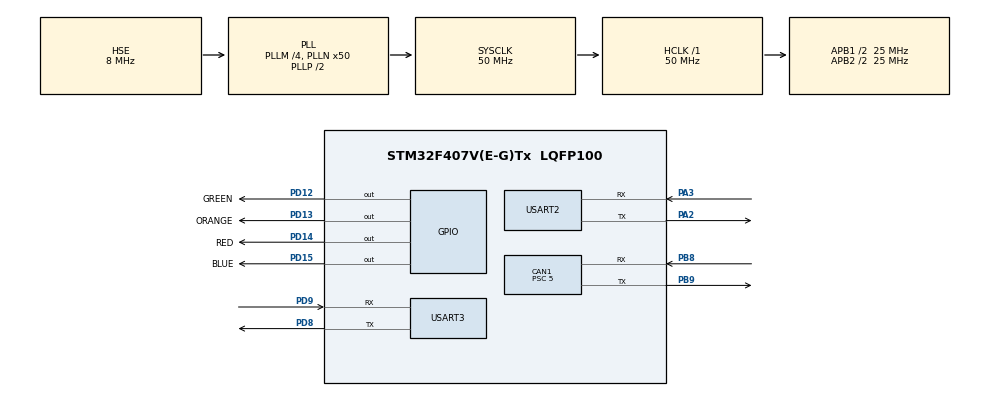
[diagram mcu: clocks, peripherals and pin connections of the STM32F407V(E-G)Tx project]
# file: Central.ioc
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CAN1.BS1=CAN_BS1_8TQ
CAN1.CalculateBaudRate=500000
CAN1.CalculateTimeBit=2000
CAN1.CalculateTimeQuantum=200.0
CAN1.Prescaler=5
Mcu.Family=STM32F4
Mcu.Name=STM32F407V(E-G)Tx
Mcu.Package=LQFP100
NVIC.CAN1_RX0_IRQn=true\:0\:0\:false\:false\:true\:true\:true\:true
NVIC.CAN1_SCE_IRQn=true\:0\:0\:false\:false\:true\:true\:true\:true
NVIC.CAN1_TX_IRQn=true\:0\:0\:false\:false\:true\:true\:true\:true
NVIC.PriorityGroup=NVIC_PRIORITYGROUP_0
NVIC.USART2_IRQn=true\:0\:0\:false\:false\:true\:true\:true\:true
NVIC.USART3_IRQn=true\:0\:0\:false\:false\:true\:true\:true\:true
PA2.GPIO_PuPd=GPIO_PULLUP
PA2.Mode=Asynchronous
PA2.Signal=USART2_TX
PA3.GPIO_PuPd=GPIO_PULLUP
PA3.Mode=Asynchronous
PA3.Signal=USART2_RX
PB8.GPIO_PuPd=GPIO_PULLUP
PB8.Mode=CAN_Activate
PB8.Signal=CAN1_RX
PB9.GPIO_PuPd=GPIO_PULLUP
PB9.Mode=CAN_Activate
PB9.Signal=CAN1_TX
PD12.GPIO_Label=GREEN
PD12.Signal=GPIO_Output
PD13.GPIO_Label=ORANGE
PD13.Signal=GPIO_Output
PD14.GPIO_Label=RED
PD14.Signal=GPIO_Output
PD15.GPIO_Label=BLUE
PD15.Signal=GPIO_Output
PD8.GPIO_PuPd=GPIO_PULLUP
PD8.Mode=Asynchronous
PD8.Signal=USART3_TX
PD9.GPIO_PuPd=GPIO_PULLUP
PD9.Mode=Asynchronous
PD9.Signal=USART3_RX
PH0-OSC_IN.Mode=HSE-External-Oscillator
PH0-OSC_IN.Signal=RCC_OSC_IN
PH1-OSC_OUT.Mode=HSE-External-Oscillator
PH1-OSC_OUT.Signal=RCC_OSC_OUT
ProjectManager.HeapSize=0x200
ProjectManager.StackSize=0x400
ProjectManager.TargetToolchain=STM32CubeIDE
RCC.48MHZClocksFreq_Value=14285714.285714285
RCC.AHBFreq_Value=50000000
RCC.APB1CLKDivider=RCC_HCLK_DIV2
RCC.APB1Freq_Value=25000000
RCC.APB1TimFreq_Value=50000000
RCC.APB2CLKDivider=RCC_HCLK_DIV2
RCC.APB2Freq_Value=25000000
RCC.APB2TimFreq_Value=50000000
RCC.CortexFreq_Value=50000000
RCC.HCLKFreq_Value=50000000
RCC.HSE_VALUE=8000000
RCC.HSI_VALUE=16000000
RCC.LSE_VALUE=32768
RCC.PLLM=4
RCC.PLLN=50
RCC.PLLQ=7
RCC.PLLSourceVirtual=RCC_PLLSOURCE_HSE
RCC.SYSCLKFreq_VALUE=50000000
RCC.SYSCLKSource=RCC_SYSCLKSOURCE_PLLCLK
RCC.VCOOutputFreq_Value=100000000
USART2.VirtualMode=VM_ASYNC
USART3.VirtualMode=VM_ASYNC
board=STM32F407G-DISC1

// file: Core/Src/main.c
/* USER CODE BEGIN Header */
/**
  ******************************************************************************
  * @file           : main.c
  * @brief          : Main program body
  ******************************************************************************
  * @attention
  *
  * Copyright (c) 2024 STMicroelectronics.
  * All rights reserved.
  *
  * This software is licensed under terms that can be found in the LICENSE file
  * in the root directory of this software component.
  * If no LICENSE file comes with this software, it is provided AS-IS.
  *
  ******************************************************************************
  */
/* USER CODE END Header */
#include "main.h"

/* USER CODE BEGIN Includes */
#include "stdio.h"
#include "string.h"
#include "ESPDataLogger.h"
/* USER CODE END Includes */

/* USER CODE BEGIN PD */
#define   DOMINANT    0
#define   RECESSIF    1
/* USER CODE END PD */

CAN_HandleTypeDef hcan1;

UART_HandleTypeDef huart2;
UART_HandleTypeDef huart3;

/* USER CODE BEGIN PV */
 uint8_t aRxDataCan[6];
 uint16_t aRxDataCanCloud[5];
 uint8_t aRxDataCanQT[5];
 uint8_t EtatFan = 0 ;
 uint8_t CanFlag = 0 ;
 uint8_t QtRxData[2];
 uint8_t aTxData[2];
 //////////paramétres CAN/////////
 uint32_t TxMailbox;
 CAN_RxHeaderTypeDef RxHeader;

/* USER CODE END PV */

void SystemClock_Config(void);
static void MX_GPIO_Init(void);
static void MX_CAN1_Init(void);
static void MX_USART3_UART_Init(void);
static void MX_USART2_UART_Init(void);
/* USER CODE BEGIN PFP */
static void CAN1_Filter(void);
static void CAN1_Tx(void);
static void Send_Data_Uart(uint8_t *data, uint8_t size);
/* USER CODE END PFP */

int main(void)
{

  /* MCU Configuration--------------------------------------------------------*/

  /* Reset of all peripherals, Initializes the Flash interface and the Systick. */
  HAL_Init();

  /* Configure the system clock */
  SystemClock_Config();

  /* Initialize all configured peripherals */
  MX_GPIO_Init();
  MX_CAN1_Init();
  MX_USART3_UART_Init();
  MX_USART2_UART_Init();
  /* USER CODE BEGIN 2 */
  CAN1_Filter();
 if (HAL_CAN_Start(&hcan1) !=HAL_OK)
  {
	  Error_Handler();
  }
 if (HAL_CAN_ActivateNotification(&hcan1,CAN_IT_RX_FIFO0_MSG_PENDING | CAN_IT_TX_MAILBOX_EMPTY )!= HAL_OK)
  {
    Error_Handler();
  }

  if ( HAL_UART_Receive_IT(&huart2, QtRxData, sizeof(QtRxData)) != HAL_OK )
  {
	 Error_Handler();
  }
 ESP_Init("Redmi","09876543210X");
  /* USER CODE END 2 */

  /* Infinite loop */
  while (1)
  {

    /* USER CODE BEGIN 3 */

	  if ( 1 == CanFlag )
	    {
		      HAL_GPIO_TogglePin(GREEN_GPIO_Port, GREEN_Pin);
		      CanFlag = 0;

         }
	  else if ( 2 == CanFlag )
		  {
			  HAL_GPIO_TogglePin(RED_GPIO_Port, RED_Pin);
			  CanFlag = 0;
		  }
	  else if ( 3 == CanFlag )
		  {
			  HAL_GPIO_TogglePin(BLUE_GPIO_Port, BLUE_Pin);
			  Send_Data_Uart(aRxDataCanQT, sizeof(aRxDataCanQT));
              ESP_Send_Multi("Q2II80D9IDVPRW74",5,aRxDataCanCloud);
		      HAL_Delay(1000);
		      CanFlag = 0;
		  }

  }
  /* USER CODE END 3 */
}

void SystemClock_Config(void)
{
  RCC_OscInitTypeDef RCC_OscInitStruct = {0};
  RCC_ClkInitTypeDef RCC_ClkInitStruct = {0};

  /** Configure the main internal regulator output voltage
  */
  __HAL_RCC_PWR_CLK_ENABLE();
  __HAL_PWR_VOLTAGESCALING_CONFIG(PWR_REGULATOR_VOLTAGE_SCALE1);

  /** Initializes the RCC Oscillators according to the specified parameters
  * in the RCC_OscInitTypeDef structure.
  */
  RCC_OscInitStruct.OscillatorType = RCC_OSCILLATORTYPE_HSE;
  RCC_OscInitStruct.HSEState = RCC_HSE_ON;
  RCC_OscInitStruct.PLL.PLLState = RCC_PLL_ON;
  RCC_OscInitStruct.PLL.PLLSource = RCC_PLLSOURCE_HSE;
  RCC_OscInitStruct.PLL.PLLM = 4;
  RCC_OscInitStruct.PLL.PLLN = 50;
  RCC_OscInitStruct.PLL.PLLP = RCC_PLLP_DIV2;
  RCC_OscInitStruct.PLL.PLLQ = 7;
  if (HAL_RCC_OscConfig(&RCC_OscInitStruct) != HAL_OK)
  {
    Error_Handler();
  }

  /** Initializes the CPU, AHB and APB buses clocks
  */
  RCC_ClkInitStruct.ClockType = RCC_CLOCKTYPE_HCLK|RCC_CLOCKTYPE_SYSCLK
                              |RCC_CLOCKTYPE_PCLK1|RCC_CLOCKTYPE_PCLK2;
  RCC_ClkInitStruct.SYSCLKSource = RCC_SYSCLKSOURCE_PLLCLK;
  RCC_ClkInitStruct.AHBCLKDivider = RCC_SYSCLK_DIV1;
  RCC_ClkInitStruct.APB1CLKDivider = RCC_HCLK_DIV2;
  RCC_ClkInitStruct.APB2CLKDivider = RCC_HCLK_DIV2;

  if (HAL_RCC_ClockConfig(&RCC_ClkInitStruct, FLASH_LATENCY_1) != HAL_OK)
  {
    Error_Handler();
  }
}

static void MX_CAN1_Init(void)
{

  hcan1.Instance = CAN1;
  hcan1.Init.Prescaler = 5;
  hcan1.Init.Mode = CAN_MODE_NORMAL;
  hcan1.Init.SyncJumpWidth = CAN_SJW_1TQ;
  hcan1.Init.TimeSeg1 = CAN_BS1_8TQ;
  hcan1.Init.TimeSeg2 = CAN_BS2_1TQ;
  hcan1.Init.TimeTriggeredMode = DISABLE;
  hcan1.Init.AutoBusOff = DISABLE;
  hcan1.Init.AutoWakeUp = DISABLE;
  hcan1.Init.AutoRetransmission = DISABLE;
  hcan1.Init.ReceiveFifoLocked = DISABLE;
  hcan1.Init.TransmitFifoPriority = DISABLE;
  if (HAL_CAN_Init(&hcan1) != HAL_OK)
  {
    Error_Handler();
  }

}

static void MX_USART2_UART_Init(void)
{

  huart2.Instance = USART2;
  huart2.Init.BaudRate = 115200;
  huart2.Init.WordLength = UART_WORDLENGTH_8B;
  huart2.Init.StopBits = UART_STOPBITS_1;
  huart2.Init.Parity = UART_PARITY_NONE;
  huart2.Init.Mode = UART_MODE_TX_RX;
  huart2.Init.HwFlowCtl = UART_HWCONTROL_NONE;
  huart2.Init.OverSampling = UART_OVERSAMPLING_16;
  if (HAL_UART_Init(&huart2) != HAL_OK)
  {
    Error_Handler();
  }

}

static void MX_USART3_UART_Init(void)
{

  huart3.Instance = USART3;
  huart3.Init.BaudRate = 115200;
  huart3.Init.WordLength = UART_WORDLENGTH_8B;
  huart3.Init.StopBits = UART_STOPBITS_1;
  huart3.Init.Parity = UART_PARITY_NONE;
  huart3.Init.Mode = UART_MODE_TX_RX;
  huart3.Init.HwFlowCtl = UART_HWCONTROL_NONE;
  huart3.Init.OverSampling = UART_OVERSAMPLING_16;
  if (HAL_UART_Init(&huart3) != HAL_OK)
  {
    Error_Handler();
  }

}

static void MX_GPIO_Init(void)
{
  GPIO_InitTypeDef GPIO_InitStruct = {0};

  /* GPIO Ports Clock Enable */
  __HAL_RCC_GPIOH_CLK_ENABLE();
  __HAL_RCC_GPIOA_CLK_ENABLE();
  __HAL_RCC_GPIOD_CLK_ENABLE();
  __HAL_RCC_GPIOB_CLK_ENABLE();

  /*Configure GPIO pin Output Level */
  HAL_GPIO_WritePin(GPIOD, GREEN_Pin|ORANGE_Pin|RED_Pin|BLUE_Pin, GPIO_PIN_RESET);

  /*Configure GPIO pins : GREEN_Pin ORANGE_Pin RED_Pin BLUE_Pin */
  GPIO_InitStruct.Pin = GREEN_Pin|ORANGE_Pin|RED_Pin|BLUE_Pin;
  GPIO_InitStruct.Mode = GPIO_MODE_OUTPUT_PP;
  GPIO_InitStruct.Pull = GPIO_NOPULL;
  GPIO_InitStruct.Speed = GPIO_SPEED_FREQ_LOW;
  HAL_GPIO_Init(GPIOD, &GPIO_InitStruct);

}

/* USER CODE BEGIN 4 */
static void CAN1_Filter(void)
 {
 	CAN_FilterTypeDef can1_filter_init;
 	can1_filter_init.FilterActivation = ENABLE;
 	can1_filter_init.FilterBank = 0;
 	can1_filter_init.FilterFIFOAssignment = CAN_RX_FIFO0;
 	can1_filter_init.FilterIdHigh = 0x4FF<<5;
 	can1_filter_init.FilterIdLow = 0x0000;
 	can1_filter_init.FilterMaskIdHigh = 0x8FF<<5;
 	can1_filter_init.FilterMaskIdLow = 0x0000;
 	can1_filter_init.FilterMode = CAN_FILTERMODE_IDMASK;
 	can1_filter_init.FilterScale = CAN_FILTERSCALE_32BIT;
 	if(HAL_CAN_ConfigFilter(&hcan1, &can1_filter_init) != HAL_OK)
 	{
 		Error_Handler();
 	}
 }
 static void CAN1_Rx(void)
 {

 	if(HAL_CAN_GetRxMessage(&hcan1, CAN_RX_FIFO0, &RxHeader, aRxDataCan) != HAL_OK)
 	{
 		Error_Handler();
 	}
 	if (RxHeader.RTR == DOMINANT  )
 	{

 	/*if( RxHeader.StdId == 0x2FF ||  RxHeader.StdId  == 0x3FF)
 	{
		HAL_GPIO_TogglePin(ORANGE_GPIO_Port,ORANGE_Pin);
		HAL_GPIO_WritePin(BLUE_GPIO_Port,BLUE_Pin,RESET);
		HAL_GPIO_WritePin(RED_GPIO_Port,RED_Pin,RESET);

 	}
 	else if( RxHeader.StdId  == 0x1FF )
 	{
 		 HAL_GPIO_TogglePin(RED_GPIO_Port,RED_Pin);
 		 HAL_GPIO_WritePin(BLUE_GPIO_Port,BLUE_Pin,RESET);
 		 HAL_GPIO_WritePin(ORANGE_GPIO_Port,ORANGE_Pin,RESET);
 	}
 	else if( RxHeader.StdId == 0x0FF )
 	{
 		 HAL_GPIO_TogglePin(BLUE_GPIO_Port,BLUE_Pin);
 		 HAL_GPIO_WritePin(ORANGE_GPIO_Port,ORANGE_Pin,RESET);
 		 HAL_GPIO_WritePin(RED_GPIO_Port,RED_Pin,RESET);
 	}
 	else if( RxHeader.StdId == 0x4FF )
 	{
 		HAL_GPIO_WritePin(RED_GPIO_Port,BLUE_Pin,RESET);
 		HAL_GPIO_WritePin(ORANGE_GPIO_Port,ORANGE_Pin,RESET);
 		HAL_GPIO_WritePin(RED_GPIO_Port,RED_Pin,RESET);

 	}
 	*/
 	if (RxHeader.StdId == 0x0FF || RxHeader.StdId == 0x1FF || RxHeader.StdId == 0x3FF ){
 		for(int i = 0; i < 3; i++) {
 			aRxDataCanQT[i] = aRxDataCan[i];
 			aRxDataCanCloud[i] = aRxDataCan[i];
 		}
 	}
 	else if (RxHeader.StdId == 0x2FF || RxHeader.StdId == 0x4FF ){
 		for(int i = 0; i < 2; i++) {
 			aRxDataCanQT[i+3] = aRxDataCan[i+3];
 			aRxDataCanCloud[i+3] = aRxDataCan[i+3];
 		}
 	}
 }
 }
 void HAL_CAN_TxMailbox0CompleteCallback(CAN_HandleTypeDef *hcan)
  {
 		if (hcan->Instance == CAN1)
 		{
 			CanFlag = 1;
 	    }

  }

  void HAL_CAN_TxMailbox1CompleteCallback(CAN_HandleTypeDef *hcan)
  {
 		if (hcan->Instance== CAN1)
 		{
 			CanFlag = 1;
 	    }

  }

 void HAL_CAN_TxMailbox2CompleteCallback(CAN_HandleTypeDef *hcan)
  {
 		if (hcan->Instance== CAN1)
 		{
 			CanFlag = 1;
 	    }

  }

 void HAL_CAN_RxFifo0MsgPendingCallback(CAN_HandleTypeDef *hcan)
 {
	 if (hcan->Instance== CAN1)
	{
		 CAN1_Rx();
		 CanFlag = 3;
	}

 }
void HAL_CAN_ErrorCallback(CAN_HandleTypeDef *hcan)
{
  if (hcan->Instance== CAN1)
	{
	  CanFlag = 2;
	}

 }
void HAL_UART_RxCpltCallback(UART_HandleTypeDef *huart)
{
	if(huart->Instance == USART2)
	  {

		   if ( HAL_UART_Receive_IT(&huart2, QtRxData, sizeof(QtRxData)) != HAL_OK){
			   Error_Handler();
		   }
		  CAN1_Tx();

	  }

}

 static void Send_Data_Uart(uint8_t *data, uint8_t size) {
	   HAL_UART_Transmit(&huart2,  data, size, HAL_MAX_DELAY);
	}
 void Convert_Uint8_To_Uint16(uint8_t *input, uint16_t *output, size_t length) {
     for (size_t i = 0; i < length; i++) {
         output[i] = (uint16_t)input[i];
     }
 }
 static void CAN1_Tx(void)
 {
 	CAN_TxHeaderTypeDef TxHeader;
 	aTxData[0] = QtRxData[0];
 	aTxData[1] = QtRxData[1];
 	if (0 == aTxData[0])
 	{
 		TxHeader.StdId= 0x0EF;
 	}
 	else if (1 == aTxData[0])
 	{
 		TxHeader.StdId= 0x1EF;
 	}

 	TxHeader.RTR= CAN_RTR_DATA;
 	TxHeader.IDE= CAN_ID_STD;
 	TxHeader.DLC= 2;
 	TxHeader.TransmitGlobalTime = DISABLE;
 	if(HAL_CAN_AddTxMessage(&hcan1, &TxHeader,aTxData , &TxMailbox) != HAL_OK)
 	{
 		Error_Handler();
 	}
 }
/* USER CODE END 4 */

void Error_Handler(void)
{
  __disable_irq();
  while (1)
  {
  }
}
